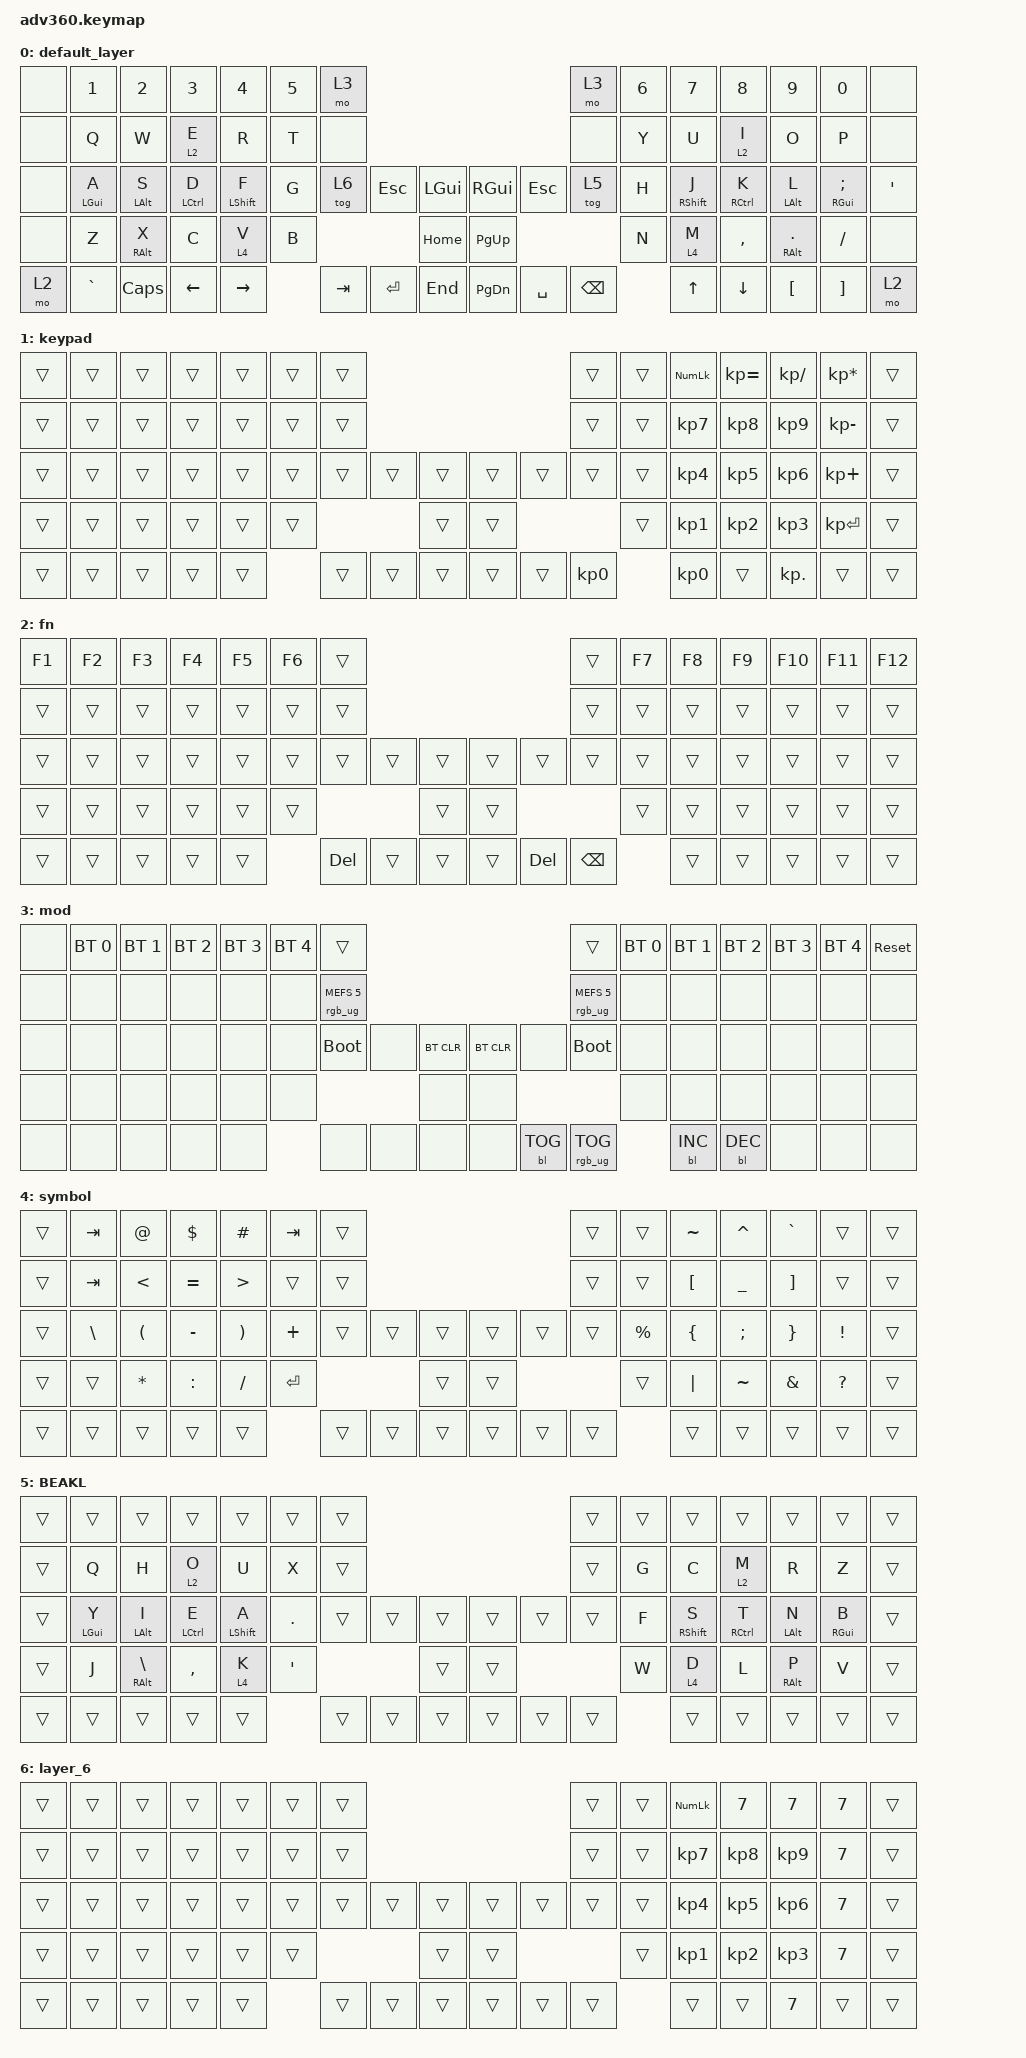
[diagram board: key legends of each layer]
#include <behaviors.dtsi>
#include <dt-bindings/zmk/backlight.h>
#include <dt-bindings/zmk/bt.h>
#include <dt-bindings/zmk/keys.h>
#include <dt-bindings/zmk/rgb.h>

/ {
    behaviors {
        #include "macros.dtsi"

        hm: homerow_mods {
            compatible = "zmk,behavior-hold-tap";
            label = "HOMEROW_MODS";
            #binding-cells = <2>;
            tapping-term-ms = <250>;
            flavor = "balanced";
            bindings = <&kp>, <&kp>;

            quick-tap-ms = <200>;
            require-prior-idle-ms = <100>;
            hold-trigger-on-release;
        };

        hml: hml {
            compatible = "zmk,behavior-hold-tap";
            label = "HML";
            bindings = <&kp>, <&kp>;

            #binding-cells = <2>;
            tapping-term-ms = <225>;
            quick-tap-ms = <175>;
            require-prior-idle-ms = <100>;
            flavor = "balanced";
            hold-trigger-key-positions = <7 8 9 10 11 12 13 21 22 23 24 25 26 27 39 40 41 42 43 44 45 54 55 56 57 58 59 71 72 73 74 75>;
            hold-trigger-on-release;
        };

        hmr: hmr {
            compatible = "zmk,behavior-hold-tap";
            label = "HMR";
            bindings = <&kp>, <&kp>;

            #binding-cells = <2>;
            tapping-term-ms = <225>;
            quick-tap-ms = <175>;
            require-prior-idle-ms = <100>;
            flavor = "balanced";
            hold-trigger-key-positions = <0 1 2 3 4 5 6 14 15 16 17 18 19 20 28 29 30 31 32 33 34 46 47 48 49 50 51 60 61 62 63 64>;
            hold-trigger-on-release;
        };
    };

    keymap {
        compatible = "zmk,keymap";

        default_layer {
            bindings = <
&none  &kp N1           &kp N2            &kp N3               &kp N4             &kp N5  &mo 3                                                         &mo 3          &kp N6  &kp N7              &kp N8        &kp N9                 &kp N0                    &none
&none  &kp Q            &kp W             &lt 2 E              &kp R              &kp T   &none                                                         &none          &kp Y   &kp U               &lt 2 I       &kp O                  &kp P                     &none
&none  &hml LEFT_GUI A  &hml LEFT_ALT S   &hml LEFT_CONTROL D  &hml LEFT_SHIFT F  &kp G   &tog 6   &kp ESC  &kp LEFT_GUI      &kp RIGHT_GUI  &kp ESC    &tog 5         &kp H   &hmr RIGHT_SHIFT J  &hmr RCTRL K  &hmr LEFT_ALT L        &hmr RIGHT_GUI SEMICOLON  &kp SQT
&none  &kp Z            &hml RIGHT_ALT X  &kp C                &lt 4 V            &kp B                     &kp HOME          &kp PG_UP                                &kp N   &lt 4 M             &kp COMMA     &hmr RIGHT_ALT PERIOD  &kp FSLH                  &none
&mo 2  &kp GRAVE        &kp CAPS          &kp LEFT             &kp RIGHT                  &kp TAB  &kp RET  &kp END           &kp PG_DN      &kp SPACE  &kp BACKSPACE          &kp UP              &kp DOWN      &kp LBKT               &kp RBKT                  &mo 2
            >;
        };

        keypad {
            bindings = <
&trans  &trans  &trans  &trans  &trans  &trans  &trans                                      &trans     &trans  &kp KP_NUM  &kp KP_EQUAL  &kp KP_DIVIDE  &kp KP_MULTIPLY  &trans
&trans  &trans  &trans  &trans  &trans  &trans  &trans                                      &trans     &trans  &kp KP_N7   &kp KP_N8     &kp KP_N9      &kp KP_MINUS     &trans
&trans  &trans  &trans  &trans  &trans  &trans  &trans  &trans  &trans      &trans  &trans  &trans     &trans  &kp KP_N4   &kp KP_N5     &kp KP_N6      &kp KP_PLUS      &trans
&trans  &trans  &trans  &trans  &trans  &trans                  &trans      &trans                     &trans  &kp KP_N1   &kp KP_N2     &kp KP_N3      &kp KP_ENTER     &trans
&trans  &trans  &trans  &trans  &trans          &trans  &trans  &trans      &trans  &trans  &kp KP_N0          &kp KP_N0   &trans        &kp KP_DOT     &trans           &trans
            >;
        };

        fn {
            bindings = <
&kp F1  &kp F2  &kp F3  &kp F4  &kp F5  &kp F6  &trans                                              &trans         &kp F7  &kp F8  &kp F9  &kp F10  &kp F11  &kp F12
&trans  &trans  &trans  &trans  &trans  &trans  &trans                                              &trans         &trans  &trans  &trans  &trans   &trans   &trans
&trans  &trans  &trans  &trans  &trans  &trans  &trans      &trans  &trans      &trans  &trans      &trans         &trans  &trans  &trans  &trans   &trans   &trans
&trans  &trans  &trans  &trans  &trans  &trans                      &trans      &trans                             &trans  &trans  &trans  &trans   &trans   &trans
&trans  &trans  &trans  &trans  &trans          &kp DELETE  &trans  &trans      &trans  &kp DELETE  &kp BACKSPACE          &trans  &trans  &trans   &trans   &trans
            >;
        };

        mod {
            bindings = <
&none  &bt BT_SEL 0  &bt BT_SEL 1  &bt BT_SEL 2  &bt BT_SEL 3  &bt BT_SEL 4  &trans                                                                 &trans                  &bt BT_SEL 0  &bt BT_SEL 1  &bt BT_SEL 2  &bt BT_SEL 3  &bt BT_SEL 4  &sys_reset
&none  &none         &none         &none         &none         &none         &rgb_ug RGB_MEFS_CMD 5                                                 &rgb_ug RGB_MEFS_CMD 5  &none         &none         &none         &none         &none         &none
&none  &none         &none         &none         &none         &none         &bootloader             &none  &bt BT_CLR      &bt BT_CLR  &none       &bootloader             &none         &none         &none         &none         &none         &none
&none  &none         &none         &none         &none         &none                                        &none           &none                                           &none         &none         &none         &none         &none         &none
&none  &none         &none         &none         &none                       &none                   &none  &none           &none       &bl BL_TOG  &rgb_ug RGB_TOG                       &bl BL_INC    &bl BL_DEC    &none         &none         &none
            >;
        };

        symbol {
            bindings = <
&trans  &kp TAB   &kp AT_SIGN    &kp DOLLAR  &kp HASH               &kp TAB    &trans                                      &trans  &trans       &kp TILDE         &kp CARET       &kp GRAVE          &trans           &trans
&trans  &kp TAB   &kp LESS_THAN  &kp EQUAL   &kp GREATER_THAN       &trans     &trans                                      &trans  &trans       &kp LEFT_BRACKET  &kp UNDERSCORE  &kp RIGHT_BRACKET  &trans           &trans
&trans  &kp BSLH  &kp LPAR       &kp MINUS   &kp RIGHT_PARENTHESIS  &kp PLUS   &trans  &trans  &trans      &trans  &trans  &trans  &kp PERCENT  &kp LEFT_BRACE    &kp SEMI        &kp RIGHT_BRACE    &kp EXCLAMATION  &trans
&trans  &trans    &kp ASTRK      &kp COLON   &kp SLASH              &kp ENTER                  &trans      &trans                  &trans       &kp PIPE          &kp TILDE       &kp AMPERSAND      &kp QUESTION     &trans
&trans  &trans    &trans         &trans      &trans                            &trans  &trans  &trans      &trans  &trans  &trans               &trans            &trans          &trans             &trans           &trans
            >;
        };

        BEAKL {
            bindings = <
&trans  &trans       &trans               &trans        &trans             &trans          &trans                                      &trans  &trans  &trans              &trans        &trans            &trans            &trans
&trans  &kp Q        &kp H                &lt 2 O       &kp U              &kp X           &trans                                      &trans  &kp G   &kp C               &lt 2 M       &kp R             &kp Z             &trans
&trans  &hml LGUI Y  &hml LALT I          &hml LCTRL E  &hml LEFT_SHIFT A  &kp DOT         &trans  &trans  &trans      &trans  &trans  &trans  &kp F   &hmr RIGHT_SHIFT S  &hmr RCTRL T  &hmr LALT N       &hmr RIGHT_GUI B  &trans
&trans  &kp J        &hmr RALT BACKSLASH  &kp COMMA     &lt 4 K            &kp APOSTROPHE                  &trans      &trans                  &kp W   &lt 4 D             &kp L         &hmr RIGHT_ALT P  &kp V             &trans
&trans  &trans       &trans               &trans        &trans                             &trans  &trans  &trans      &trans  &trans  &trans          &trans              &trans        &trans            &trans            &trans
            >;
        };

        layer_6 {
            bindings = <
&trans  &trans  &trans  &trans  &trans  &trans  &trans                                      &trans  &trans  &kp KP_NUMLOCK  &kp N7     &kp N7     &kp N7  &trans
&trans  &trans  &trans  &trans  &trans  &trans  &trans                                      &trans  &trans  &kp KP_N7       &kp KP_N8  &kp KP_N9  &kp N7  &trans
&trans  &trans  &trans  &trans  &trans  &trans  &trans  &trans  &trans      &trans  &trans  &trans  &trans  &kp KP_N4       &kp KP_N5  &kp KP_N6  &kp N7  &trans
&trans  &trans  &trans  &trans  &trans  &trans                  &trans      &trans                  &trans  &kp KP_N1       &kp KP_N2  &kp KP_N3  &kp N7  &trans
&trans  &trans  &trans  &trans  &trans          &trans  &trans  &trans      &trans  &trans  &trans          &trans          &trans     &kp N7     &trans  &trans
            >;
        };
    };
};
